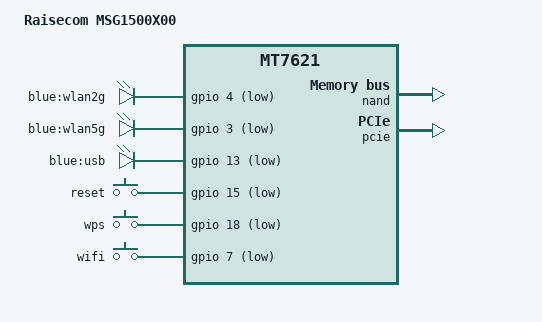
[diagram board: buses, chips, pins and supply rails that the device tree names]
#include "mt7621.dtsi"

#include <dt-bindings/gpio/gpio.h>
#include <dt-bindings/input/input.h>

/ {
	compatible = "raisecom,msg1500x00", "mediatek,mt7621-soc";
	model = "Raisecom MSG1500X00";

	aliases {
		led-boot = &led_usb;
		led-failsafe = &led_usb;
		led-running = &led_usb;
		led-upgrade = &led_usb;
		label-mac-device = &gmac0;
	};

	chosen {
		bootargs = "console=ttyS0,115200";
	};

	leds {
		compatible = "gpio-leds";

		wlan2g {
			label = "blue:wlan2g";
			gpios = <&gpio 4 GPIO_ACTIVE_LOW>;
		};

		wlan5g {
			label = "blue:wlan5g";
			gpios = <&gpio 3 GPIO_ACTIVE_LOW>;
		};

		led_usb: usb {
			label = "blue:usb";
			gpios = <&gpio 13 GPIO_ACTIVE_LOW>;
			trigger-sources = <&xhci_ehci_port1>, <&ehci_port2>;
			linux,default-trigger = "usbport";
		};
	};

	keys {
		compatible = "gpio-keys";

		reset {
			label = "reset";
			gpios = <&gpio 15 GPIO_ACTIVE_LOW>;
			linux,code = <KEY_RESTART>;
		};

		wps {
			label = "wps";
			gpios = <&gpio 18 GPIO_ACTIVE_LOW>;
			linux,code = <KEY_WPS_BUTTON>;
		};

		wifi {
			label = "wifi";
			gpios = <&gpio 7 GPIO_ACTIVE_LOW>;
			linux,code = <KEY_RFKILL>;
		};
	
	};
	
	ubi-concat {
		compatible = "mtd-concat";
		devices = <&ubiconcat0 &ubiconcat1>;

		partitions {
			compatible = "fixed-partitions";
			#address-cells = <1>;
			#size-cells = <1>;

			partition@0 {
				label = "ubi";
				reg = <0x0 0x79c0000>;
			};
		};
	};
};

&nand {
	status = "okay";

	partitions {
		compatible = "fixed-partitions";
		#address-cells = <1>;
		#size-cells = <1>;

		partition@0 {
			label = "u-boot";
			reg = <0x0 0x80000>;
			read-only;
		};

		partition@80000 {
			label = "debug";
			reg = <0x80000 0x80000>;
			read-only;
		};

		factory: partition@100000 {
			label = "factory";
			reg = <0x100000 0x40000>;
			read-only;
		};

		partition@140000 {
			label = "kernel";
			reg = <0x140000 0x400000>;
		};

		ubiconcat0: partition@540000 {
			label = "ubiconcat0";
			reg = <0x540000 0x1c80000>;
		};

		partition@21c0000 {
			label = "bdinfo";
			reg = <0x21c0000 0x80000>;
			read-only;
		};

		ubiconcat1: partition@2240000 {
			label = "ubiconcat1";
			reg = <0x2240000 0x5d40000>;
		};
	};
};

&pcie {
	status = "okay";
};

&pcie0 {
	mt76@0,0 {
		reg = <0x0000 0 0 0 0>;
		mediatek,mtd-eeprom = <&factory 0x0004>;
		/*led {
			led-sources = <3>;
			led-active-low;
		};*/
	};
};

&gmac0 {
	mtd-mac-address = <&factory 0xe000>;
};

&switch0 {
	ports {
		port@0 {
			status = "okay";
			label = "lan4";
		};

		port@1 {
			status = "okay";
			label = "lan3";
		};

		port@2 {
			status = "okay";
			label = "lan2";
		};

		port@3 {
			status = "okay";
			label = "lan1";
		};

		port@4 {
			status = "okay";
			label = "wan";
			mtd-mac-address = <&factory 0xe006>;
		};
	};
};

&state_default {
	gpio {
		groups = "i2c", "jtag", "uart2", "uart3", "wdt";
		function = "gpio";
	};
};

